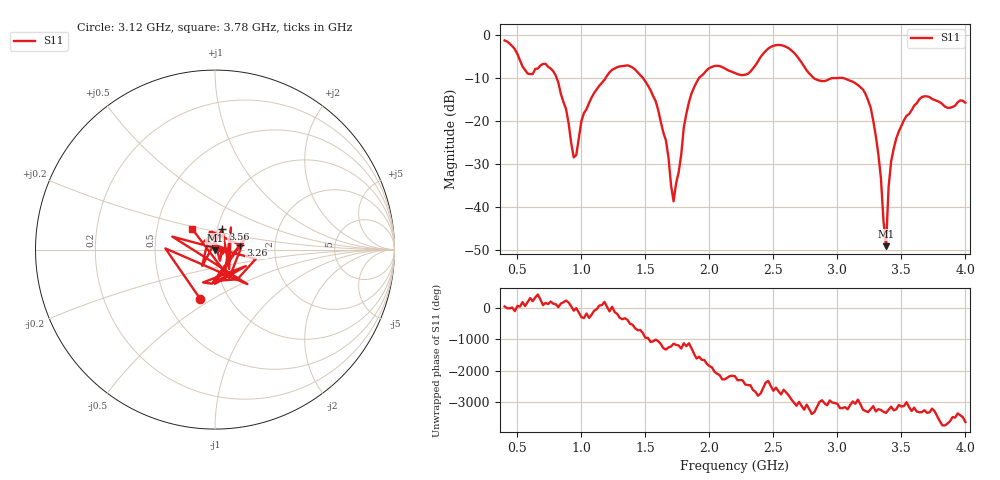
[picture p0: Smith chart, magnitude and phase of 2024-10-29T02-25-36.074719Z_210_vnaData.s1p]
!Created with skrf (http://scikit-rf.org).
# Hz S RI R 50.0
!freq ReS11 ImS11
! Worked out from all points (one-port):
!   181 points, 400 MHz to 4 GHz, reference 50 ohm
!   lowest |S11| = -49.1 dB at 3.38 GHz (marker M1), VSWR 1.01, Z = 49.9 - j0.323 ohm
!   |S11| at or under -10 dB: 807.3 MHz to 1.188 GHz (380.6 MHz wide, 38.1 % of centre); 1.482 GHz to 1.918 GHz (435.8 MHz wide, 25.6 % of centre); 3.049 GHz to end of sweep (the widest 3 of 4)
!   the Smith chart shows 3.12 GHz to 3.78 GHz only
!   S11 on the Smith chart (normalised r, x): 3.12 GHz: 0.74, -0.44; 3.26 GHz: 1.33, +0.07; 3.56 GHz: 1.06, +0.24; 3.78 GHz: 0.76, +0.18
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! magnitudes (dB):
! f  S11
! 400 MHz  -1.2
! 580 MHz  -8.9
! 760 MHz  -7.7
! 860 MHz  -15.6
! 940 MHz  -28.4
! 1.08 GHz  -14.5
! 1.3 GHz  -7.3
! 1.42 GHz  -8.0
! 1.58 GHz  -15.3
! 1.66 GHz  -24.5
! 1.72 GHz  -38.7
! 1.76 GHz  -31.9
! 1.82 GHz  -18.3
! 1.92 GHz  -9.9
! 2.2 GHz  -8.8
! 2.5 GHz  -2.4
! 2.66 GHz  -4.0
! 2.82 GHz  -10.1
! 3.1 GHz  -10.6
! 3.12 GHz  -10.8
! 3.26 GHz  -16.8
! 3.32 GHz  -27.7
! 3.38 GHz  -49.1
! 3.4 GHz  -35.3
! 3.42 GHz  -29.4
! 3.56 GHz  -18.3
! 3.78 GHz  -15.3
! 4 GHz  -15.7
